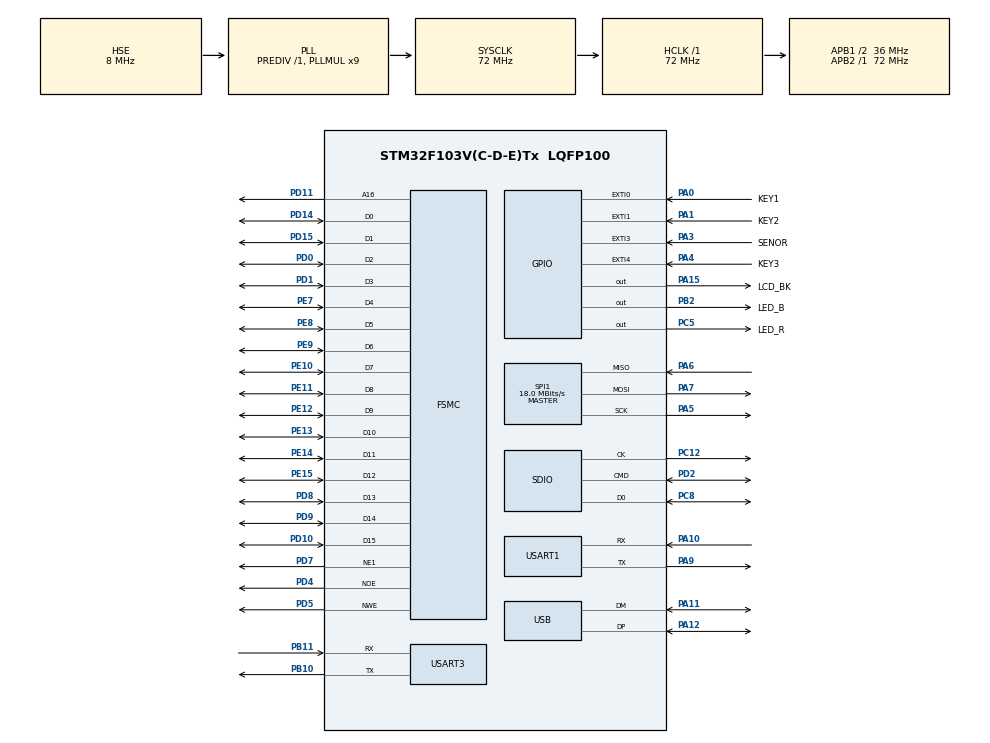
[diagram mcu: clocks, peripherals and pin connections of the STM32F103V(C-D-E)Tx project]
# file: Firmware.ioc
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Dma.Request0=USART1_RX
Dma.USART1_RX.0.Direction=DMA_PERIPH_TO_MEMORY
Dma.USART1_RX.0.Instance=DMA1_Channel5
Dma.USART1_RX.0.MemDataAlignment=DMA_MDATAALIGN_BYTE
Dma.USART1_RX.0.MemInc=DMA_MINC_ENABLE
Dma.USART1_RX.0.Mode=DMA_NORMAL
Dma.USART1_RX.0.PeriphDataAlignment=DMA_PDATAALIGN_BYTE
Dma.USART1_RX.0.PeriphInc=DMA_PINC_DISABLE
Dma.USART1_RX.0.Priority=DMA_PRIORITY_LOW
Mcu.Family=STM32F1
Mcu.Name=STM32F103V(C-D-E)Tx
Mcu.Package=LQFP100
NVIC.DMA1_Channel5_IRQn=true\:0\:0\:false\:false\:true\:false\:true\:true
NVIC.EXTI0_IRQn=true\:2\:0\:true\:false\:true\:true\:true\:true
NVIC.EXTI1_IRQn=true\:2\:0\:true\:false\:true\:true\:true\:true
NVIC.EXTI3_IRQn=true\:2\:0\:true\:false\:true\:true\:true\:true
NVIC.EXTI4_IRQn=true\:2\:0\:true\:false\:true\:true\:true\:true
NVIC.PriorityGroup=NVIC_PRIORITYGROUP_4
NVIC.RCC_IRQn=true\:0\:0\:false\:false\:true\:true\:false\:true
NVIC.RTC_Alarm_IRQn=true\:3\:0\:true\:false\:true\:true\:true\:true
NVIC.RTC_IRQn=true\:3\:0\:true\:false\:true\:true\:true\:true
NVIC.TIM4_IRQn=true\:1\:0\:true\:false\:true\:true\:true\:true
NVIC.USART1_IRQn=true\:2\:0\:true\:false\:true\:true\:true\:true
NVIC.USART3_IRQn=true\:3\:0\:true\:false\:true\:true\:true\:true
NVIC.USB_LP_CAN1_RX0_IRQn=true\:3\:0\:true\:false\:true\:false\:true\:true
OSC_IN.Mode=HSE-External-Oscillator
OSC_IN.Signal=RCC_OSC_IN
OSC_OUT.Mode=HSE-External-Oscillator
OSC_OUT.Signal=RCC_OSC_OUT
PA0-WKUP.GPIO_Label=KEY1
PA0-WKUP.GPIO_PuPd=GPIO_PULLDOWN
PA0-WKUP.Signal=GPXTI0
PA1.GPIO_Label=KEY2
PA1.GPIO_ModeDefaultEXTI=GPIO_MODE_IT_FALLING
PA1.GPIO_PuPd=GPIO_PULLUP
PA1.Signal=GPXTI1
PA10.Mode=Asynchronous
PA10.Signal=USART1_RX
PA11.Mode=Device
PA11.Signal=USB_DM
PA12.Mode=Device
PA12.Signal=USB_DP
PA13.Mode=Serial_Wire
PA13.Signal=SYS_JTMS-SWDIO
PA14.Mode=Serial_Wire
PA14.Signal=SYS_JTCK-SWCLK
PA15.GPIO_Label=LCD_BK
PA15.Signal=GPIO_Output
PA3.GPIO_Label=SENOR
PA3.GPIO_ModeDefaultEXTI=GPIO_MODE_IT_RISING
PA3.GPIO_PuPd=GPIO_PULLDOWN
PA3.Signal=GPXTI3
PA4.GPIO_Label=KEY3
PA4.GPIO_ModeDefaultEXTI=GPIO_MODE_IT_FALLING
PA4.GPIO_PuPd=GPIO_PULLUP
PA4.Signal=GPXTI4
PA5.Mode=Full_Duplex_Master
PA5.Signal=SPI1_SCK
PA6.Mode=Full_Duplex_Master
PA6.Signal=SPI1_MISO
PA7.Mode=Full_Duplex_Master
PA7.Signal=SPI1_MOSI
PA9.Mode=Asynchronous
PA9.Signal=USART1_TX
PB10.Mode=Asynchronous
PB10.Signal=USART3_TX
PB11.Mode=Asynchronous
PB11.Signal=USART3_RX
PB2.GPIO_Label=LED_B
PB2.PinState=GPIO_PIN_SET
PB2.Signal=GPIO_Output
PC12.Mode=SD_1_bit
PC12.Signal=SDIO_CK
PC14-OSC32_IN.Mode=LSE-External-Oscillator
PC14-OSC32_IN.Signal=RCC_OSC32_IN
PC15-OSC32_OUT.Mode=LSE-External-Oscillator
PC15-OSC32_OUT.Signal=RCC_OSC32_OUT
PC5.GPIO_Label=LED_R
PC5.PinState=GPIO_PIN_SET
PC5.Signal=GPIO_Output
PC8.Mode=SD_1_bit
PC8.Signal=SDIO_D0
PD0.Mode=16b-d1
PD0.Signal=FSMC_D2
PD1.Mode=16b-d1
PD1.Signal=FSMC_D3
PD10.Mode=16b-d1
PD10.Signal=FSMC_D15
PD11.Mode=A16_1
PD11.Signal=FSMC_A16
PD14.Mode=16b-d1
PD14.Signal=FSMC_D0
PD15.Mode=16b-d1
PD15.Signal=FSMC_D1
PD2.Mode=SD_1_bit
PD2.Signal=SDIO_CMD
PD4.Mode=Lcd1
PD4.Signal=FSMC_NOE
PD5.Mode=Lcd1
PD5.Signal=FSMC_NWE
PD7.Mode=NorPsramChipSelect1_1
PD7.Signal=FSMC_NE1
PD8.Mode=16b-d1
PD8.Signal=FSMC_D13
PD9.Mode=16b-d1
PD9.Signal=FSMC_D14
PE10.Mode=16b-d1
PE10.Signal=FSMC_D7
PE11.Mode=16b-d1
PE11.Signal=FSMC_D8
PE12.Mode=16b-d1
PE12.Signal=FSMC_D9
PE13.Mode=16b-d1
PE13.Signal=FSMC_D10
PE14.Mode=16b-d1
PE14.Signal=FSMC_D11
PE15.Mode=16b-d1
PE15.Signal=FSMC_D12
PE7.Mode=16b-d1
PE7.Signal=FSMC_D4
PE8.Mode=16b-d1
PE8.Signal=FSMC_D5
PE9.Mode=16b-d1
PE9.Signal=FSMC_D6
ProjectManager.HeapSize=0x200
ProjectManager.StackSize=0x400
ProjectManager.TargetToolchain=STM32CubeIDE
RCC.AHBFreq_Value=72000000
RCC.APB1CLKDivider=RCC_HCLK_DIV2
RCC.APB1Freq_Value=36000000
RCC.APB1TimFreq_Value=72000000
RCC.APB2Freq_Value=72000000
RCC.APB2TimFreq_Value=72000000
RCC.HCLKFreq_Value=72000000
RCC.PLLMUL=RCC_PLL_MUL9
RCC.SYSCLKFreq_VALUE=72000000
RCC.SYSCLKSource=RCC_SYSCLKSOURCE_PLLCLK
RCC.USBFreq_Value=48000000
RCC.USBPrescaler=RCC_USBCLKSOURCE_PLL_DIV1_5
RTC.Format=RTC_FORMAT_BIN
SDIO.ClockDiv=4
SPI1.BaudRatePrescaler=SPI_BAUDRATEPRESCALER_4
SPI1.CalculateBaudRate=18.0 MBits/s
SPI1.Direction=SPI_DIRECTION_2LINES
SPI1.Mode=SPI_MODE_MASTER
SPI1.VirtualType=VM_MASTER
TIM4.Period=999
TIM4.Prescaler=71
USART1.VirtualMode=VM_ASYNC
USART3.VirtualMode=VM_ASYNC
USB_DEVICE.CLASS_NAME_FS=MSC
USB_DEVICE.VirtualMode=Msc
USB_DEVICE.VirtualModeFS=Msc_FS
VP_FATFS_VS_SDIO.Mode=SDIO
VP_RTC_VS_RTC_Activate.Mode=RTC_Enabled
VP_RTC_VS_RTC_Calendar.Mode=RTC_Calendar
VP_TIM4_VS_ClockSourceINT.Mode=Internal
VP_USB_DEVICE_VS_USB_DEVICE_MSC_FS.Mode=MSC_FS
board=custom

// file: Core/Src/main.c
/* USER CODE BEGIN Header */
/**
  ******************************************************************************
  * @file           : main.c
  * @brief          : Main program body
  ******************************************************************************
  * @attention
  *
  * Copyright (c) 2024 STMicroelectronics.
  * All rights reserved.
  *
  * This software is licensed under terms that can be found in the LICENSE file
  * in the root directory of this software component.
  * If no LICENSE file comes with this software, it is provided AS-IS.
  *
  ******************************************************************************
  */
/* USER CODE END Header */
#include "main.h"
#include "dma.h"
#include "fatfs.h"
#include "rtc.h"
#include "sdio.h"
#include "spi.h"
#include "tim.h"
#include "usart.h"
#include "usb_device.h"
#include "gpio.h"
#include "fsmc.h"

/* USER CODE BEGIN PV */
uint8_t sdMountFlag = 0;
uint8_t cmdBuffer[120];
uint8_t keyVal = 0;
/* USER CODE END PV */

void SystemClock_Config(void);

int main(void)
{

  /* MCU Configuration--------------------------------------------------------*/

  /* Reset of all peripherals, Initializes the Flash interface and the Systick. */
  HAL_Init();

  /* Configure the system clock */
  SystemClock_Config();

  /* USER CODE BEGIN SysInit */
  RetargetInit(&huart1);
  /* USER CODE END SysInit */

  /* Initialize all configured peripherals */
  MX_GPIO_Init();
  MX_DMA_Init();
  MX_FSMC_Init();
  MX_TIM4_Init();
  MX_USART1_UART_Init();
  MX_SDIO_SD_Init();
  MX_USART3_UART_Init();
  MX_FATFS_Init();
  MX_USB_DEVICE_Init();
  MX_RTC_Init();
  MX_SPI1_Init();
  /* USER CODE BEGIN 2 */
  WS_TFT_Init();
  HAL_UARTEx_ReceiveToIdle_DMA(&huart1,cmdBuffer, sizeof(cmdBuffer));
  __HAL_DMA_DISABLE_IT(&hdma_usart1_rx,DMA_IT_HT);

  printf("System Init OK!\r\n");
  Staring_Menu();
  taxiSystemInit();
  uint8_t menuFlag = 0;
  /* USER CODE END 2 */

  /* Infinite loop */
  /* USER CODE BEGIN WHILE */
  while (1) {

	if(keyVal == 2 && (getChangeFlag() == 0)){
	  menuFlag++;
	  WS_TFT_Clear(WHITE);
	  keyVal = 0;
	}
	if(menuFlag == 0) user_Menu();
	else if(menuFlag == 1) changePriceMenu();
	else menuFlag = 0;

    /* USER CODE END WHILE */

  }
}

void SystemClock_Config(void)
{
  RCC_OscInitTypeDef RCC_OscInitStruct = {0};
  RCC_ClkInitTypeDef RCC_ClkInitStruct = {0};
  RCC_PeriphCLKInitTypeDef PeriphClkInit = {0};

  /** Initializes the RCC Oscillators according to the specified parameters
  * in the RCC_OscInitTypeDef structure.
  */
  RCC_OscInitStruct.OscillatorType = RCC_OSCILLATORTYPE_LSI|RCC_OSCILLATORTYPE_HSE;
  RCC_OscInitStruct.HSEState = RCC_HSE_ON;
  RCC_OscInitStruct.HSEPredivValue = RCC_HSE_PREDIV_DIV1;
  RCC_OscInitStruct.HSIState = RCC_HSI_ON;
  RCC_OscInitStruct.LSIState = RCC_LSI_ON;
  RCC_OscInitStruct.PLL.PLLState = RCC_PLL_ON;
  RCC_OscInitStruct.PLL.PLLSource = RCC_PLLSOURCE_HSE;
  RCC_OscInitStruct.PLL.PLLMUL = RCC_PLL_MUL9;
  if (HAL_RCC_OscConfig(&RCC_OscInitStruct) != HAL_OK)
  {
    Error_Handler();
  }

  /** Initializes the CPU, AHB and APB buses clocks
  */
  RCC_ClkInitStruct.ClockType = RCC_CLOCKTYPE_HCLK|RCC_CLOCKTYPE_SYSCLK
                              |RCC_CLOCKTYPE_PCLK1|RCC_CLOCKTYPE_PCLK2;
  RCC_ClkInitStruct.SYSCLKSource = RCC_SYSCLKSOURCE_PLLCLK;
  RCC_ClkInitStruct.AHBCLKDivider = RCC_SYSCLK_DIV1;
  RCC_ClkInitStruct.APB1CLKDivider = RCC_HCLK_DIV2;
  RCC_ClkInitStruct.APB2CLKDivider = RCC_HCLK_DIV1;

  if (HAL_RCC_ClockConfig(&RCC_ClkInitStruct, FLASH_LATENCY_2) != HAL_OK)
  {
    Error_Handler();
  }
  PeriphClkInit.PeriphClockSelection = RCC_PERIPHCLK_RTC|RCC_PERIPHCLK_USB;
  PeriphClkInit.RTCClockSelection = RCC_RTCCLKSOURCE_LSI;
  PeriphClkInit.UsbClockSelection = RCC_USBCLKSOURCE_PLL_DIV1_5;
  if (HAL_RCCEx_PeriphCLKConfig(&PeriphClkInit) != HAL_OK)
  {
    Error_Handler();
  }
}

/* USER CODE BEGIN 4 */
//串口中断回调函数
void HAL_UARTEx_RxEventCallback(UART_HandleTypeDef *huart, uint16_t Size){
  if(huart->Instance == USART1){
	command_Process(cmdBuffer,Size);
	memset(cmdBuffer,0, sizeof(cmdBuffer));
	HAL_UARTEx_ReceiveToIdle_DMA(&huart1,cmdBuffer, sizeof(cmdBuffer));
	__HAL_DMA_DISABLE_IT(&hdma_usart1_rx,DMA_IT_HT);
  }
}
//Second event callback
void HAL_RTCEx_RTCEventCallback(RTC_HandleTypeDef *hrtc){
  static RTC_DateTypeDef sDate = {0,0,0,0};
  HAL_RTC_GetDate(hrtc,&hrtc->DateToUpdate,RTC_FORMAT_BIN);
  if(sDate.Year != hrtc->DateToUpdate.Year || sDate.Month !=
  hrtc->DateToUpdate.Month || sDate.Date != hrtc->DateToUpdate.Date){
	HAL_RTCEx_BKUPWrite(hrtc,RTC_BKP_DR2,hrtc->DateToUpdate.Year);
	HAL_RTCEx_BKUPWrite(hrtc,RTC_BKP_DR3,hrtc->DateToUpdate.Month);
	HAL_RTCEx_BKUPWrite(hrtc,RTC_BKP_DR4,hrtc->DateToUpdate.Date);
	sDate.Year = hrtc->DateToUpdate.Year ;
	sDate.Month = hrtc->DateToUpdate.Month ;
	sDate.Date = hrtc->DateToUpdate.Date;
  }
}
/* USER CODE END 4 */

void Error_Handler(void)
{
  __disable_irq();
  while (1) {
  }
}
